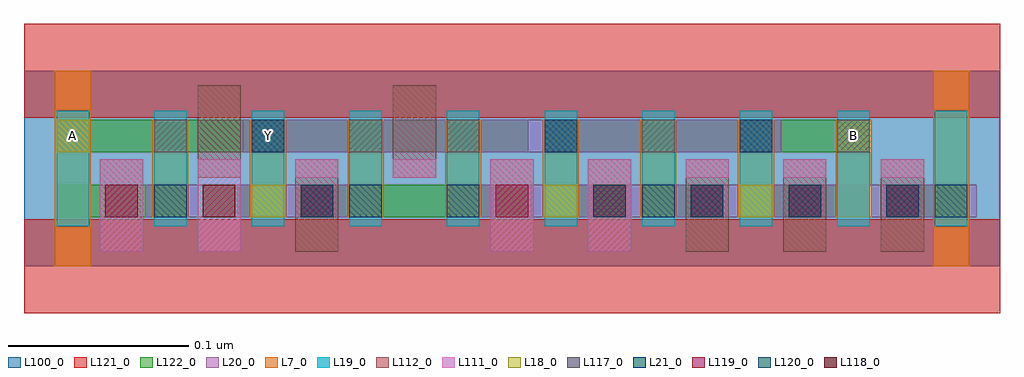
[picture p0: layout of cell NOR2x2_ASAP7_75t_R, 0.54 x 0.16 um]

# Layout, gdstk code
import gdstk
lib = gdstk.Library(unit=1e-6, precision=2.5e-10)
def R(c, l, rs):  # rectangles x0, y0, x1, y1
    for r in rs: c.add(gdstk.rectangle(r[:2], r[2:], *l))
def A(c, l, x, y, w, h, nx, ny, dx, dy):  # array of equal rectangles
    R(c, l, [(x+i*dx, y+j*dy, x+i*dx+w, y+j*dy+h) for i in range(nx) for j in range(ny)])
L7_0 = (7, 0)
L18_0 = (18, 0)
L19_0 = (19, 0)
L20_0 = (20, 0)
L21_0 = (21, 0)
L100_0 = (100, 0)
L111_0 = (111, 0)
L112_0 = (112, 0)
L117_0 = (117, 0)
L118_0 = (118, 0)
L119_0 = (119, 0)
L120_0 = (120, 0)
L121_0 = (121, 0)
L122_0 = (122, 0)

nor2x2_asap7_75t_r = lib.new_cell('NOR2x2_ASAP7_75t_R')
A(nor2x2_asap7_75t_r, L7_0, 0.071, 0.027, 0.02, 0.054, 8, 1, 0.054, 0)
R(nor2x2_asap7_75t_r, L7_0, [(0.017,0,0.037,0.108), (0.503,0,0.523,0.108)])
A(nor2x2_asap7_75t_r, L18_0, 0.072, 0.027, 0.018, 0.018, 7, 1, 0.054, 0)
R(nor2x2_asap7_75t_r, L18_0, [(0.504,0.027,0.522,0.045), (0.018,0.063,0.036,0.081), (0.45,0.063,0.468,0.081)])
A(nor2x2_asap7_75t_r, L19_0, 0.018, 0.022, 0.018, 0.064, 10, 1, 0.054, 0)
R(nor2x2_asap7_75t_r, L20_0, [(0.067,0.027,0.198,0.045), (0.234,0.027,0.527,0.045), (0.121,0.063,0.419,0.081)])
R(nor2x2_asap7_75t_r, L21_0, [(0.072,0.027,0.09,0.045), (0.18,0.027,0.198,0.045), (0.234,0.027,0.252,0.045), (0.342,0.027,0.36,0.045), (0.504,0.027,0.522,0.045), (0.126,0.063,0.144,0.081), (0.288,0.063,0.306,0.081), (0.396,0.063,0.414,0.081)])
R(nor2x2_asap7_75t_r, L100_0, [(0,0,0.54,0.108)])
A(nor2x2_asap7_75t_r, L111_0, 0.366, 0.049, 0.024, 0.01, 3, 1, 0.054, 0)
R(nor2x2_asap7_75t_r, L111_0, [(0.042,0.008,0.066,0.059), (0.096,0.008,0.12,0.059), (0.258,0.008,0.282,0.059), (0.312,0.008,0.336,0.059), (0.15,0.049,0.174,0.059), (0.204,0.049,0.228,0.059)])
A(nor2x2_asap7_75t_r, L112_0, 0.042, 0.008, 0.024, 0.051, 3, 1, 0.108, 0)
A(nor2x2_asap7_75t_r, L112_0, 0.312, 0.008, 0.024, 0.051, 4, 1, 0.054, 0)
R(nor2x2_asap7_75t_r, L112_0, [(0.096,0.049,0.12,0.1), (0.204,0.049,0.228,0.1)])
A(nor2x2_asap7_75t_r, L117_0, 0.072, 0.063, 0.018, 0.018, 8, 1, 0.054, 0)
R(nor2x2_asap7_75t_r, L118_0, [(0.099,0.027,0.117,0.045)])
A(nor2x2_asap7_75t_r, L119_0, 0.045, 0.027, 0.018, 0.018, 3, 1, 0.108, 0)
A(nor2x2_asap7_75t_r, L119_0, 0.315, 0.027, 0.018, 0.018, 4, 1, 0.054, 0)
A(nor2x2_asap7_75t_r, L120_0, 0.315, 0.027, 0.018, 0.018, 4, 1, 0.054, 0)
R(nor2x2_asap7_75t_r, L120_0, [(0.153,0.027,0.171,0.045)])
R(nor2x2_asap7_75t_r, L121_0, [(0,-0.026,0.54,0.026), (0,0.082,0.54,0.134)])
R(nor2x2_asap7_75t_r, L122_0, [(0.018,0.027,0.09,0.045), (0.099,0.027,0.144,0.045), (0.153,0.027,0.279,0.045), (0.288,0.027,0.333,0.045), (0.342,0.027,0.387,0.045), (0.396,0.027,0.468,0.045), (0.477,0.027,0.522,0.045), (0.018,0.063,0.279,0.081), (0.288,0.063,0.468,0.081)])
nor2x2_asap7_75t_r.add(gdstk.Label('Y', (0.135,0.072), layer=19, texttype=251))
nor2x2_asap7_75t_r.add(gdstk.Label('B', (0.459,0.072), layer=19, texttype=251))
nor2x2_asap7_75t_r.add(gdstk.Label('A', (0.027,0.072), layer=19, texttype=251))

lib.write_gds('NOR2x2_ASAP7_75t_R.gds')
